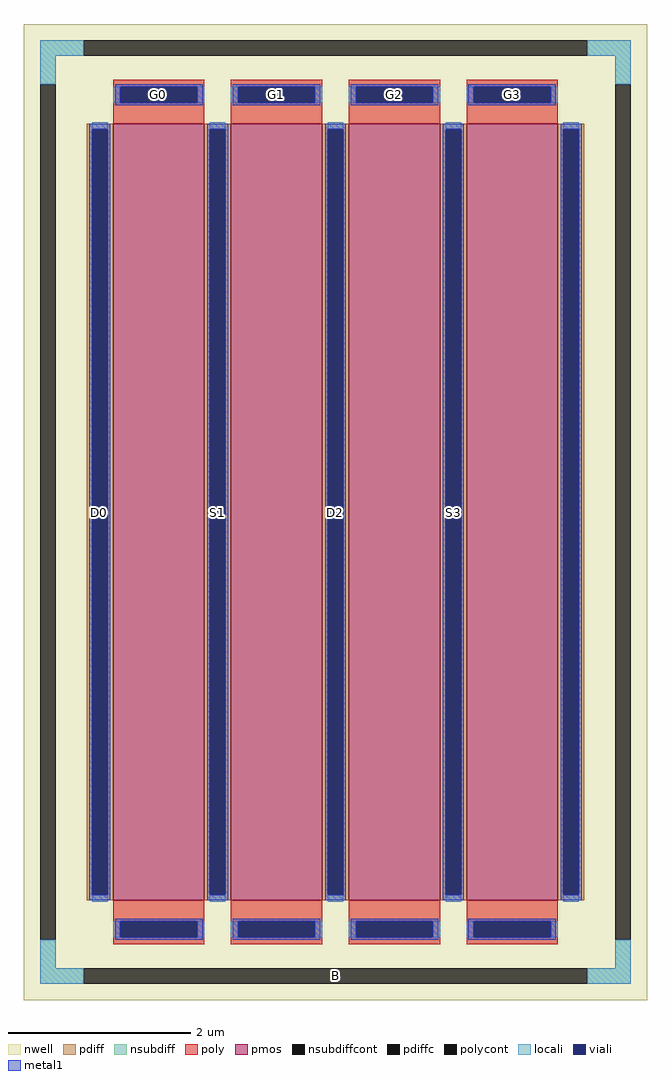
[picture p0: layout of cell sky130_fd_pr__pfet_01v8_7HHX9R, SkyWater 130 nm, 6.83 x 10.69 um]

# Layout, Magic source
magic
tech sky130A
magscale 1 2
<< nwell >>
rect -683 -1069 683 1069
<< pmos >>
rect -487 -850 -287 850
rect -229 -850 -29 850
rect 29 -850 229 850
rect 287 -850 487 850
<< pdiff >>
rect -545 838 -487 850
rect -545 -838 -533 838
rect -499 -838 -487 838
rect -545 -850 -487 -838
rect -287 838 -229 850
rect -287 -838 -275 838
rect -241 -838 -229 838
rect -287 -850 -229 -838
rect -29 838 29 850
rect -29 -838 -17 838
rect 17 -838 29 838
rect -29 -850 29 -838
rect 229 838 287 850
rect 229 -838 241 838
rect 275 -838 287 838
rect 229 -850 287 -838
rect 487 838 545 850
rect 487 -838 499 838
rect 533 -838 545 838
rect 487 -850 545 -838
<< pdiffc >>
rect -533 -838 -499 838
rect -275 -838 -241 838
rect -17 -838 17 838
rect 241 -838 275 838
rect 499 -838 533 838
<< nsubdiff >>
rect -647 999 -551 1033
rect 551 999 647 1033
rect -647 937 -613 999
rect 613 937 647 999
rect -647 -999 -613 -937
rect 613 -999 647 -937
rect -647 -1033 -551 -999
rect 551 -1033 647 -999
<< nsubdiffcont >>
rect -551 999 551 1033
rect -647 -937 -613 937
rect 613 -937 647 937
rect -551 -1033 551 -999
<< poly >>
rect -487 931 -287 947
rect -487 897 -471 931
rect -303 897 -287 931
rect -487 850 -287 897
rect -229 931 -29 947
rect -229 897 -213 931
rect -45 897 -29 931
rect -229 850 -29 897
rect 29 931 229 947
rect 29 897 45 931
rect 213 897 229 931
rect 29 850 229 897
rect 287 931 487 947
rect 287 897 303 931
rect 471 897 487 931
rect 287 850 487 897
rect -487 -897 -287 -850
rect -487 -931 -471 -897
rect -303 -931 -287 -897
rect -487 -947 -287 -931
rect -229 -897 -29 -850
rect -229 -931 -213 -897
rect -45 -931 -29 -897
rect -229 -947 -29 -931
rect 29 -897 229 -850
rect 29 -931 45 -897
rect 213 -931 229 -897
rect 29 -947 229 -931
rect 287 -897 487 -850
rect 287 -931 303 -897
rect 471 -931 487 -897
rect 287 -947 487 -931
<< polycont >>
rect -471 897 -303 931
rect -213 897 -45 931
rect 45 897 213 931
rect 303 897 471 931
rect -471 -931 -303 -897
rect -213 -931 -45 -897
rect 45 -931 213 -897
rect 303 -931 471 -897
<< locali >>
rect -647 999 -551 1033
rect 551 999 647 1033
rect -647 937 -613 999
rect 613 937 647 999
rect -487 897 -471 931
rect -303 897 -287 931
rect -229 897 -213 931
rect -45 897 -29 931
rect 29 897 45 931
rect 213 897 229 931
rect 287 897 303 931
rect 471 897 487 931
rect -533 838 -499 854
rect -533 -854 -499 -838
rect -275 838 -241 854
rect -275 -854 -241 -838
rect -17 838 17 854
rect -17 -854 17 -838
rect 241 838 275 854
rect 241 -854 275 -838
rect 499 838 533 854
rect 499 -854 533 -838
rect -487 -931 -471 -897
rect -303 -931 -287 -897
rect -229 -931 -213 -897
rect -45 -931 -29 -897
rect 29 -931 45 -897
rect 213 -931 229 -897
rect 287 -931 303 -897
rect 471 -931 487 -897
rect -647 -999 -613 -937
rect 613 -999 647 -937
rect -647 -1033 -551 -999
rect 551 -1033 647 -999
<< viali >>
rect -471 897 -303 931
rect -213 897 -45 931
rect 45 897 213 931
rect 303 897 471 931
rect -533 -838 -499 838
rect -275 -838 -241 838
rect -17 -838 17 838
rect 241 -838 275 838
rect 499 -838 533 838
rect -471 -931 -303 -897
rect -213 -931 -45 -897
rect 45 -931 213 -897
rect 303 -931 471 -897
<< metal1 >>
rect -483 931 -291 937
rect -483 897 -471 931
rect -303 897 -291 931
rect -483 891 -291 897
rect -225 931 -33 937
rect -225 897 -213 931
rect -45 897 -33 931
rect -225 891 -33 897
rect 33 931 225 937
rect 33 897 45 931
rect 213 897 225 931
rect 33 891 225 897
rect 291 931 483 937
rect 291 897 303 931
rect 471 897 483 931
rect 291 891 483 897
rect -539 838 -493 850
rect -539 -838 -533 838
rect -499 -838 -493 838
rect -539 -850 -493 -838
rect -281 838 -235 850
rect -281 -838 -275 838
rect -241 -838 -235 838
rect -281 -850 -235 -838
rect -23 838 23 850
rect -23 -838 -17 838
rect 17 -838 23 838
rect -23 -850 23 -838
rect 235 838 281 850
rect 235 -838 241 838
rect 275 -838 281 838
rect 235 -850 281 -838
rect 493 838 539 850
rect 493 -838 499 838
rect 533 -838 539 838
rect 493 -850 539 -838
rect -483 -897 -291 -891
rect -483 -931 -471 -897
rect -303 -931 -291 -897
rect -483 -937 -291 -931
rect -225 -897 -33 -891
rect -225 -931 -213 -897
rect -45 -931 -33 -897
rect -225 -937 -33 -931
rect 33 -897 225 -891
rect 33 -931 45 -897
rect 213 -931 225 -897
rect 33 -937 225 -931
rect 291 -897 483 -891
rect 291 -931 303 -897
rect 471 -931 483 -897
rect 291 -937 483 -931
<< labels >>
rlabel nsubdiffcont 0 -1016 0 -1016 0 B
port 1 nsew
rlabel pdiffc -516 0 -516 0 0 D0
port 2 nsew
rlabel polycont -387 914 -387 914 0 G0
port 3 nsew
rlabel pdiffc -258 0 -258 0 0 S1
port 4 nsew
rlabel polycont -129 914 -129 914 0 G1
port 5 nsew
rlabel pdiffc 0 0 0 0 0 D2
port 6 nsew
rlabel polycont 129 914 129 914 0 G2
port 7 nsew
rlabel pdiffc 258 0 258 0 0 S3
port 8 nsew
rlabel polycont 387 914 387 914 0 G3
port 9 nsew
<< properties >>
string FIXED_BBOX -630 -1016 630 1016
string gencell sky130_fd_pr__pfet_01v8
string library sky130
string parameters w 8.5 l 1.0 m 1 nf 4 diffcov 100 polycov 100 guard 1 glc 1 grc 1 gtc 1 gbc 1 tbcov 100 rlcov 100 topc 1 botc 1 poverlap 0 doverlap 1 lmin 0.15 wmin 0.42 class mosfet compatible {sky130_fd_pr__pfet_01v8  sky130_fd_pr__pfet_01v8_lvt sky130_fd_pr__pfet_01v8_hvt  sky130_fd_pr__pfet_g5v0d10v5} full_metal 1 conn_gates 0 viasrc 100 viadrn 100 viagate 100 viagb 0 viagr 0 viagl 0 viagt 0 doports 1
<< end >>
